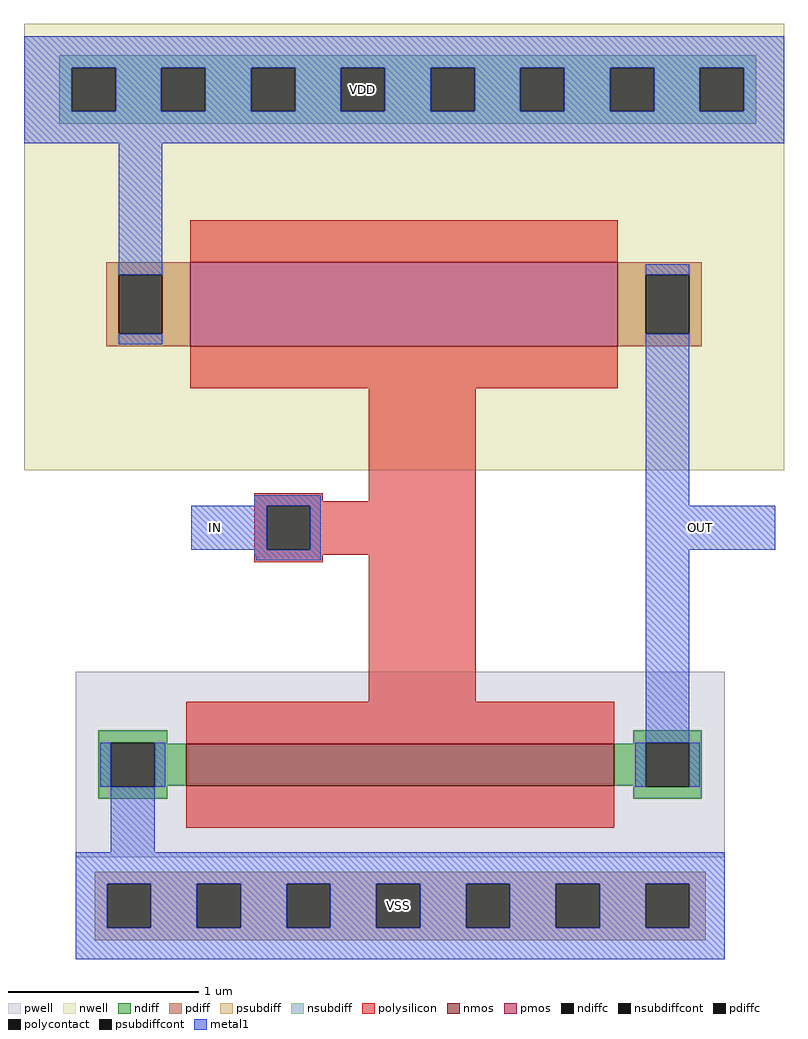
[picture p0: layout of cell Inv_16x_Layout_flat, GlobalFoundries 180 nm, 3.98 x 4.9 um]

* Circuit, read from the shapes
.subckt Inv_16x_Layout_flat IN OUT VSS VDD
XM1 OUT IN VSS VSS nfet_03v3 w=0.22u l=2.24u
XM2 OUT IN VDD VDD pfet_03v3 w=0.44u l=2.24u
.ends

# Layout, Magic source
magic
tech gf180mcuC
magscale 1 10
<< nwell >>
rect -58 405 738 873
<< pwell >>
rect -4 0 676 194
<< nmos >>
rect 112 75 560 119
<< pmos >>
rect 116 535 564 623
<< ndiff >>
rect 20 120 92 133
rect 20 74 33 120
rect 79 119 92 120
rect 580 120 652 133
rect 580 119 593 120
rect 79 75 112 119
rect 560 75 593 119
rect 79 74 92 75
rect 20 61 92 74
rect 580 74 593 75
rect 639 74 652 120
rect 580 61 652 74
<< pdiff >>
rect 28 610 116 623
rect 28 548 41 610
rect 87 548 116 610
rect 28 535 116 548
rect 564 610 652 623
rect 564 548 593 610
rect 639 548 652 610
rect 564 535 652 548
<< ndiffc >>
rect 33 74 79 120
rect 593 74 639 120
<< pdiffc >>
rect 41 548 87 610
rect 593 548 639 610
<< psubdiff >>
rect 16 -28 656 -15
rect 16 -74 29 -28
rect 75 -74 123 -28
rect 169 -74 217 -28
rect 263 -74 311 -28
rect 357 -74 405 -28
rect 451 -74 499 -28
rect 545 -74 593 -28
rect 639 -74 656 -28
rect 16 -87 656 -74
<< nsubdiff >>
rect -21 827 709 840
rect -21 781 -8 827
rect 38 781 86 827
rect 132 781 180 827
rect 226 781 274 827
rect 320 781 368 827
rect 414 781 462 827
rect 508 781 556 827
rect 602 781 650 827
rect 696 781 709 827
rect -21 768 709 781
<< psubdiffcont >>
rect 29 -74 75 -28
rect 123 -74 169 -28
rect 217 -74 263 -28
rect 311 -74 357 -28
rect 405 -74 451 -28
rect 499 -74 545 -28
rect 593 -74 639 -28
<< nsubdiffcont >>
rect -8 781 38 827
rect 86 781 132 827
rect 180 781 226 827
rect 274 781 320 827
rect 368 781 414 827
rect 462 781 508 827
rect 556 781 602 827
rect 650 781 696 827
<< polysilicon >>
rect 116 623 564 667
rect 116 491 564 535
rect 183 373 255 381
rect 303 373 415 491
rect 183 368 415 373
rect 183 322 196 368
rect 242 322 415 368
rect 183 317 415 322
rect 183 309 255 317
rect 303 163 415 317
rect 112 119 560 163
rect 112 31 560 75
<< polycontact >>
rect 196 322 242 368
<< metal1 >>
rect -58 827 738 860
rect -58 781 -8 827
rect 38 781 86 827
rect 132 781 180 827
rect 226 781 274 827
rect 320 781 368 827
rect 414 781 462 827
rect 508 781 556 827
rect 602 781 650 827
rect 696 781 738 827
rect -58 748 738 781
rect 41 610 87 748
rect 41 537 87 548
rect 593 610 639 621
rect 183 368 253 379
rect 117 322 196 368
rect 242 322 253 368
rect 183 315 253 322
rect 185 311 253 315
rect 593 368 639 548
rect 593 322 729 368
rect 593 120 639 322
rect 22 74 33 120
rect 79 74 90 120
rect 582 74 593 120
rect 639 74 650 120
rect 33 5 79 74
rect -4 -28 676 5
rect -4 -74 29 -28
rect 75 -74 123 -28
rect 169 -74 217 -28
rect 263 -74 311 -28
rect 357 -74 405 -28
rect 451 -74 499 -28
rect 545 -74 593 -28
rect 639 -74 676 -28
rect -4 -107 676 -74
<< labels >>
flabel psubdiffcont 334 -51 334 -51 0 FreeSans 320 0 0 0 VSS
port 4 nsew
flabel nsubdiffcont 297 804 297 804 0 FreeSans 320 0 0 0 VDD
port 5 nsew
flabel metal1 143 345 143 345 0 FreeSans 320 0 0 0 IN
port 2 nsew
flabel metal1 651 345 651 345 0 FreeSans 320 0 0 0 OUT
port 3 nsew
<< end >>
